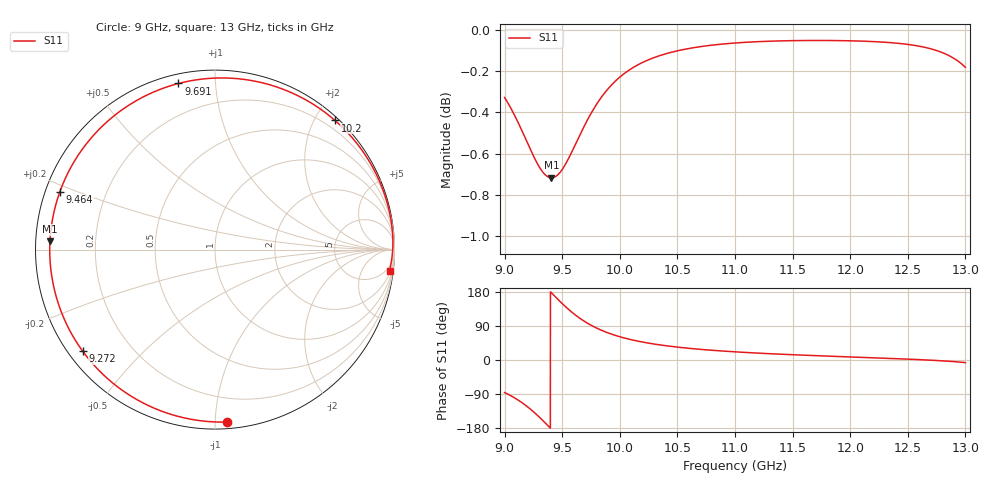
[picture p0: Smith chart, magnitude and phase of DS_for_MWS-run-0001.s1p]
! TOUCHSTONE file generated by CST DESIGN STUDIO
! Date and time: Tue Feb  4 16:14:19 2025
! Project name: C:\Work\MatlabApps\UnitCellOptimizationMatlab\CST\unitcell.cst
! Tree item: Tasks\Sweep1\SPara1\S-Parameters
! Header version: 2024
! Port assignment regex: !\s*Touchstone port\s*([0-9]+)\s*=\s*(CST MWS port|CST DES external port|CST DES block port)\s*(.+)\s* \(\"(.*)\"\)(\s*mode\s*([0-9]+))?.*
! Touchstone port assignment:
! Touchstone port 1 = CST DES external port 1 ("")
# GHz S MA R 50
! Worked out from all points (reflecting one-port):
!   4001 points, 9 GHz to 13 GHz, reference 50 ohm
!   lowest |S11| = -0.7 dB at 9.407 GHz (marker M1), VSWR 24.22, Z = 2.07 + j1.25 ohm
!   phase of S11 starts at -86 deg and turns -281 deg over the sweep
!   S11 on the Smith chart (normalised r, x): 9 GHz: 0.04, -1.07; 9.272 GHz: 0.04, -0.34; 9.464 GHz: 0.04, +0.18; 9.691 GHz: 0.04, +0.80; 10.2 GHz: 0.06, +2.29; 13 GHz: 3, -16
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9  0.963 -85.9
9.081  0.9541 -98.9
9.149  0.9455 -112.2
9.211  0.9371 -126.4
9.272  0.9294 -142.4
9.343  0.9228 -163.1
9.407  0.9207 177.1
9.464  0.9224 159.6
9.5  0.925 148.9
9.547  0.9298 135.7
9.593  0.9353 123.9
9.64  0.9413 112.9
9.691  0.9477 102.4
9.759  0.9554 90.3
9.84  0.9632 78.5
9.917  0.9691 69.4
10  0.9741 61.4
10.095  0.9785 53.9
10.202  0.9822 47.1
10.339  0.9857 40.2
10.5  0.9885 34.0
10.723  0.991 27.5
11  0.9928 21.5
11.5  0.9942 13.9
12  0.9941 8.1
12.5  0.9921 2.4
12.781  0.988 -1.8
13  0.9794 -6.8
